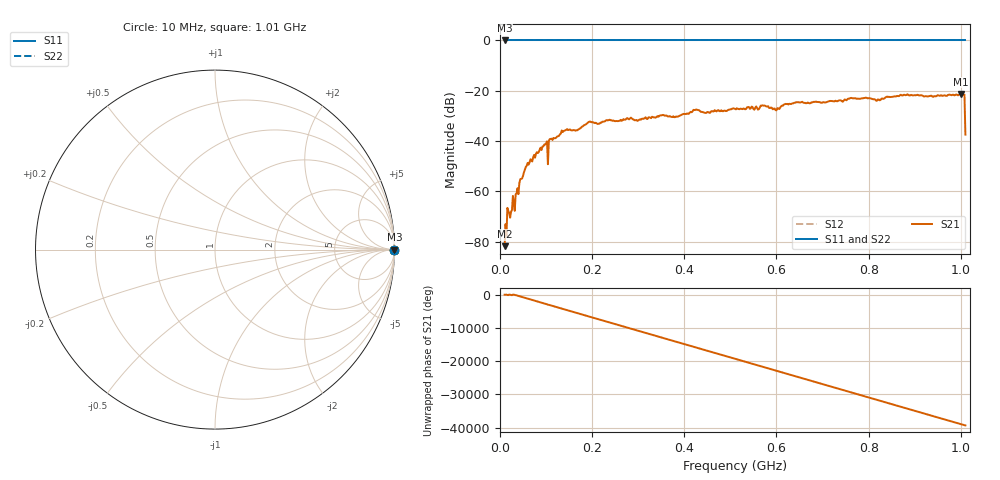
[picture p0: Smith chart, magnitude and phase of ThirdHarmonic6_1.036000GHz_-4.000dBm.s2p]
! 8/16/2025 8:55:10 AM
! C:\ANRITSUVNA\TEMP\TEMP.S2P
! CHANNEL.1
! TR.MEASUREMENT
! RAW.DATA
! RF.CORRECTION.OFF
! AVERAGING.OFF
! IF.BANDWIDTH: 5KHZ
! SWEEPTYPE:  FREQ.SWEEP(Linear)
! Reference Plane Port Info
! PORT:  PORT1  PORT2
! DISTANCE:  0  m  0  m
! TIME:  0  s  0  s
! PHASE.OFFSET:  0  deg.  0  deg.
! LOSS:  0  dB  0  dB
! REF.LOSS:  0  dB  0  dB
! REF.FREQ:  0  Hz  0  Hz
! Power Info
! POWER:  -20  dBm  -20  dBm
! EFF.POWER:  -20  dBm  -20  dBm
! SOURCE.ATTEN:  0  dB  0  dB
! TEST.ATTEN:  0  dB  0  dB
# GHZ S RI R 50.0
! FREQ.GHZ  S11RE  S11IM  S21RE  S21IM  S12RE  S12IM  S22RE  S22IM
!; PortSelection: Port_12
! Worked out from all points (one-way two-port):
!   501 points, 10 MHz to 1.01 GHz, reference 50 ohm
!   highest |S21| = -21.33 dB at 1 GHz (marker M1); lowest = -81.8 dB at 10 MHz (marker M2)
!   lowest |S11| = 0.0 dB at 10 MHz (marker M3)
!   |S11| at or under -10 dB: nowhere
!   |S22| runs from 0.0 to 0.0 dB; largest |S21 - S12| = 1.1
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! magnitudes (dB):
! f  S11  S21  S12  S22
! 10 MHz  0.0  -81.8  0.0  0.0
! 16 MHz  0.0  -66.6  0.0  0.0
! 20 MHz  0.0  -68.6  0.0  0.0
! 28 MHz  0.0  -61.8  0.0  0.0
! 46 MHz  0.0  -55.0  0.0  0.0
! 62 MHz  0.0  -49.4  0.0  0.0
! 98 MHz  0.0  -41.4  0.0  0.0
! 100 MHz  0.0  -40.9  0.0  0.0
! 108 MHz  0.0  -39.2  0.0  0.0
! 110 MHz  0.0  -39.2  0.0  0.0
! 178 MHz  0.0  -34.3  0.0  0.0
! 196 MHz  0.0  -32.2  0.0  0.0
! 344 MHz  0.0  -30.3  0.0  0.0
! 510 MHz  0.0  -27.2  0.0  0.0
! 570 MHz  0.0  -25.8  0.0  0.0
! 602 MHz  0.0  -26.9  0.0  0.0
! 620 MHz  0.0  -25.2  0.0  0.0
! 678 MHz  0.0  -24.6  0.0  0.0
! 844 MHz  0.0  -22.4  0.0  0.0
! 1 GHz  0.0  -21.3  0.0  0.0
! 1.004 GHz  0.0  -21.5  0.0  0.0
! 1.01 GHz  0.0  -37.4  0.0  0.0
